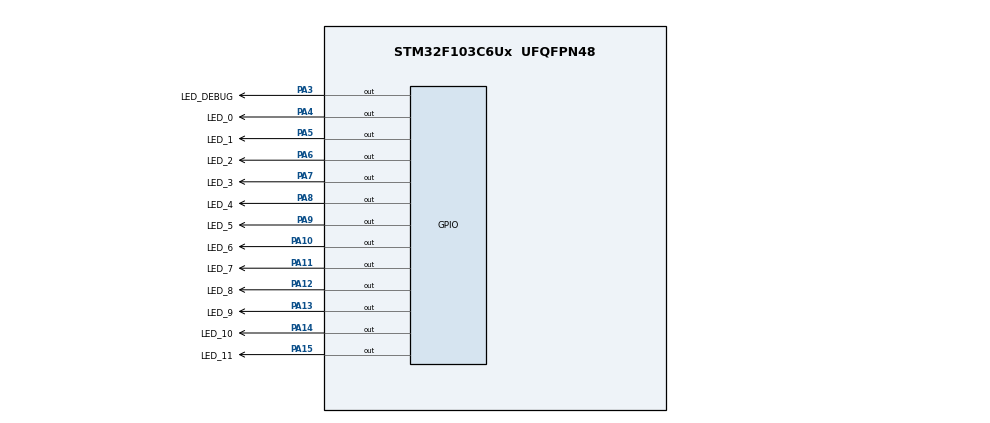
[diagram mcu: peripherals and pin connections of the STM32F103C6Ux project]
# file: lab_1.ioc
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Mcu.Family=STM32F1
Mcu.Name=STM32F103C6Ux
Mcu.Package=UFQFPN48
NVIC.PriorityGroup=NVIC_PRIORITYGROUP_4
PA10.GPIO_Label=LED_6
PA10.Signal=GPIO_Output
PA11.GPIO_Label=LED_7
PA11.Signal=GPIO_Output
PA12.GPIO_Label=LED_8
PA12.Signal=GPIO_Output
PA13.GPIO_Label=LED_9
PA13.Signal=GPIO_Output
PA14.GPIO_Label=LED_10
PA14.Signal=GPIO_Output
PA15.GPIO_Label=LED_11
PA15.Signal=GPIO_Output
PA3.GPIO_Label=LED_DEBUG
PA3.Signal=GPIO_Output
PA4.GPIO_Label=LED_0
PA4.Signal=GPIO_Output
PA5.GPIO_Label=LED_1
PA5.Signal=GPIO_Output
PA6.GPIO_Label=LED_2
PA6.Signal=GPIO_Output
PA7.GPIO_Label=LED_3
PA7.Signal=GPIO_Output
PA8.GPIO_Label=LED_4
PA8.Signal=GPIO_Output
PA9.GPIO_Label=LED_5
PA9.Signal=GPIO_Output
ProjectManager.HeapSize=0x200
ProjectManager.StackSize=0x400
ProjectManager.TargetToolchain=STM32CubeIDE
RCC.APB1Freq_Value=8000000
RCC.APB2Freq_Value=8000000
board=custom

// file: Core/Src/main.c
/* USER CODE BEGIN Header */
/**
 ******************************************************************************
 * @file           : main.c
 * @brief          : Main program body
 ******************************************************************************
 * @attention
 *
 * Copyright (c) 2025 STMicroelectronics.
 * All rights reserved.
 *
 * This software is licensed under terms that can be found in the LICENSE file
 * in the root directory of this software component.
 * If no LICENSE file comes with this software, it is provided AS-IS.
 *
 ******************************************************************************
 */
/* USER CODE END Header */
#include "main.h"

/* USER CODE BEGIN PD */
#define SPEED_FOR_SECOND	1000 // Millisecond unit
/* USER CODE END PD */

/* USER CODE BEGIN PV */
int led_state = 0x0;
int hour = 0; // 0-11
int minute = 0; // 0-59
int second = 0; // 0-59

int old_state[3] = {0, 0, 0}; // second, minute, hour
int new_state[3] = {0, 0, 0};
/* USER CODE END PV */

void SystemClock_Config(void);
static void MX_GPIO_Init(void);
/* USER CODE BEGIN PFP */
void clearAllClock();
void setNumberOnClock(int num);
void clearNumberOnClock(int num);
void update_state();

void test_basic_function();
void clock_display();
void update_clock();
/* USER CODE END PFP */

int main(void)
{

  /* MCU Configuration--------------------------------------------------------*/

  /* Reset of all peripherals, Initializes the Flash interface and the Systick. */
  HAL_Init();

  /* Configure the system clock */
  SystemClock_Config();

  /* Initialize all configured peripherals */
  MX_GPIO_Init();
  /* USER CODE BEGIN 2 */
	HAL_GPIO_WritePin(LED_DEBUG_GPIO_Port, LED_DEBUG_Pin, 1);
	clearAllClock();
  /* USER CODE END 2 */

  /* Infinite loop */
  /* USER CODE BEGIN WHILE */
	while (1)
	{
		HAL_GPIO_TogglePin(LED_DEBUG_GPIO_Port, LED_DEBUG_Pin);
		clock_display();
		HAL_Delay(SPEED_FOR_SECOND);
    /* USER CODE END WHILE */

	}
}

void SystemClock_Config(void)
{
  RCC_OscInitTypeDef RCC_OscInitStruct = {0};
  RCC_ClkInitTypeDef RCC_ClkInitStruct = {0};

  /** Initializes the RCC Oscillators according to the specified parameters
  * in the RCC_OscInitTypeDef structure.
  */
  RCC_OscInitStruct.OscillatorType = RCC_OSCILLATORTYPE_HSI;
  RCC_OscInitStruct.HSIState = RCC_HSI_ON;
  RCC_OscInitStruct.HSICalibrationValue = RCC_HSICALIBRATION_DEFAULT;
  RCC_OscInitStruct.PLL.PLLState = RCC_PLL_NONE;
  if (HAL_RCC_OscConfig(&RCC_OscInitStruct) != HAL_OK)
  {
    Error_Handler();
  }

  /** Initializes the CPU, AHB and APB buses clocks
  */
  RCC_ClkInitStruct.ClockType = RCC_CLOCKTYPE_HCLK|RCC_CLOCKTYPE_SYSCLK
                              |RCC_CLOCKTYPE_PCLK1|RCC_CLOCKTYPE_PCLK2;
  RCC_ClkInitStruct.SYSCLKSource = RCC_SYSCLKSOURCE_HSI;
  RCC_ClkInitStruct.AHBCLKDivider = RCC_SYSCLK_DIV1;
  RCC_ClkInitStruct.APB1CLKDivider = RCC_HCLK_DIV1;
  RCC_ClkInitStruct.APB2CLKDivider = RCC_HCLK_DIV1;

  if (HAL_RCC_ClockConfig(&RCC_ClkInitStruct, FLASH_LATENCY_0) != HAL_OK)
  {
    Error_Handler();
  }
}

static void MX_GPIO_Init(void)
{
  GPIO_InitTypeDef GPIO_InitStruct = {0};

  /* GPIO Ports Clock Enable */
  __HAL_RCC_GPIOA_CLK_ENABLE();

  /*Configure GPIO pin Output Level */
  HAL_GPIO_WritePin(GPIOA, LED_DEBUG_Pin|LED_0_Pin|LED_1_Pin|LED_2_Pin
                          |LED_3_Pin|LED_4_Pin|LED_5_Pin|LED_6_Pin
                          |LED_7_Pin|LED_8_Pin|LED_9_Pin|LED_10_Pin
                          |LED_11_Pin, GPIO_PIN_RESET);

  /*Configure GPIO pins : LED_DEBUG_Pin LED_0_Pin LED_1_Pin LED_2_Pin
                           LED_3_Pin LED_4_Pin LED_5_Pin LED_6_Pin
                           LED_7_Pin LED_8_Pin LED_9_Pin LED_10_Pin
                           LED_11_Pin */
  GPIO_InitStruct.Pin = LED_DEBUG_Pin|LED_0_Pin|LED_1_Pin|LED_2_Pin
                          |LED_3_Pin|LED_4_Pin|LED_5_Pin|LED_6_Pin
                          |LED_7_Pin|LED_8_Pin|LED_9_Pin|LED_10_Pin
                          |LED_11_Pin;
  GPIO_InitStruct.Mode = GPIO_MODE_OUTPUT_PP;
  GPIO_InitStruct.Pull = GPIO_NOPULL;
  GPIO_InitStruct.Speed = GPIO_SPEED_FREQ_LOW;
  HAL_GPIO_Init(GPIOA, &GPIO_InitStruct);

}

/* USER CODE BEGIN 4 */
void clearAllClock() {
	led_state = 0xFFF;
	update_state();
}

void setNumberOnClock(int num) {
	led_state = led_state & ~(1 << num);
	update_state();
}

void clearNumberOnClock(int num) {
	led_state = led_state | (1 << num);
	update_state();
}

void update_state() {
	HAL_GPIO_WritePin(LED_0_GPIO_Port, LED_0_Pin, !(~led_state & (1 << 0)));
	HAL_GPIO_WritePin(LED_1_GPIO_Port, LED_1_Pin, !(~led_state & (1 << 1)));
	HAL_GPIO_WritePin(LED_2_GPIO_Port, LED_2_Pin, !(~led_state & (1 << 2)));
	HAL_GPIO_WritePin(LED_3_GPIO_Port, LED_3_Pin, !(~led_state & (1 << 3)));
	HAL_GPIO_WritePin(LED_4_GPIO_Port, LED_4_Pin, !(~led_state & (1 << 4)));
	HAL_GPIO_WritePin(LED_5_GPIO_Port, LED_5_Pin, !(~led_state & (1 << 5)));
	HAL_GPIO_WritePin(LED_6_GPIO_Port, LED_6_Pin, !(~led_state & (1 << 6)));
	HAL_GPIO_WritePin(LED_7_GPIO_Port, LED_7_Pin, !(~led_state & (1 << 7)));
	HAL_GPIO_WritePin(LED_8_GPIO_Port, LED_8_Pin, !(~led_state & (1 << 8)));
	HAL_GPIO_WritePin(LED_9_GPIO_Port, LED_9_Pin, !(~led_state & (1 << 9)));
	HAL_GPIO_WritePin(LED_10_GPIO_Port, LED_10_Pin, !(~led_state & (1 << 10)));
	HAL_GPIO_WritePin(LED_11_GPIO_Port, LED_11_Pin, !(~led_state & (1 << 11)));
}

void test_basic_function() {
	clearAllClock();
	for (int i = 0; i < 12; ++i) {
		setNumberOnClock(i);
		HAL_Delay(250);
	}

	for (int i = 0; i < 12; ++i) {
		clearNumberOnClock(i);
		HAL_Delay(250);
	}
}

void clock_display() { // Note: Proteus messes with modulo operator (%)
	update_clock();
	++second;
	if (second >= 60) {
		second = 0;
	}

	if (second == 0) {
		++minute;
		if (minute >= 60) {
			minute = 0;
		}
		if (minute == 0) {
			++hour;
			if (hour >= 12) {
				hour = 0;
			}
		}
	}
}

void update_clock() {
	new_state[0] = second/5;
	new_state[1] = minute/5;
	new_state[2] = hour;

	for (int i = 0; i < 3; ++i) {
		setNumberOnClock(new_state[i]);
	}

	for (int i = 0; i < 3; ++i) {
		int remove_flag = 1;
		for (int j = 0; j < 3; ++j) {
			if (old_state[i] == new_state[j]) {
				remove_flag = 0;
				break;
			}
		}
		if (remove_flag == 1) {
			clearNumberOnClock(old_state[i]);
		}
		old_state[i] = new_state[i];
	}
}
/* USER CODE END 4 */

void Error_Handler(void)
{
	__disable_irq();
	while (1)
	{
	}
}
